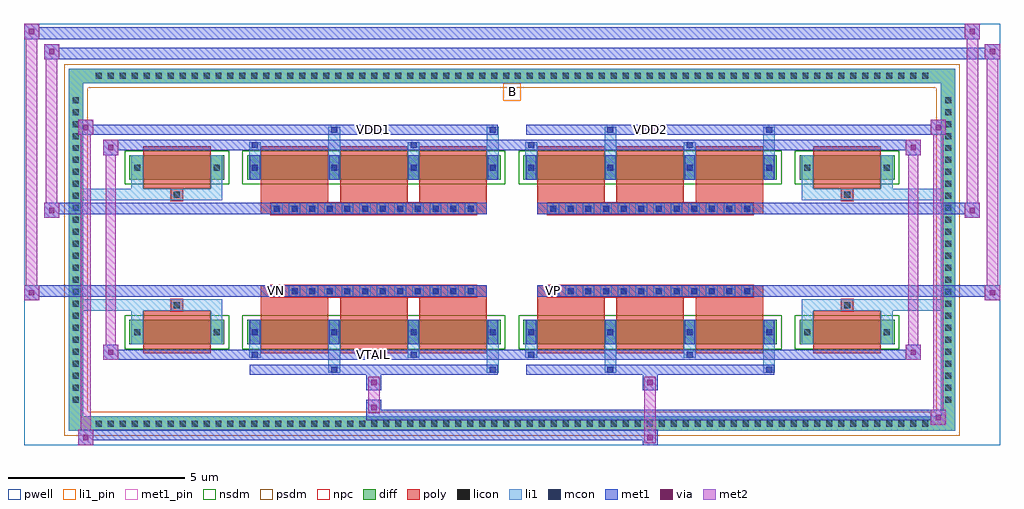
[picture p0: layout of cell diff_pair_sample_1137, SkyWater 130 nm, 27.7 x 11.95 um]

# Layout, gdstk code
import gdstk
lib = gdstk.Library(unit=1e-6, precision=5e-09)
def R(c, l, rs):  # rectangles x0, y0, x1, y1
    for r in rs: c.add(gdstk.rectangle(r[:2], r[2:], *l))
def A(c, l, x, y, w, h, nx, ny, dx, dy):  # array of equal rectangles
    R(c, l, [(x+i*dx, y+j*dy, x+i*dx+w, y+j*dy+h) for i in range(nx) for j in range(ny)])
def P(c, l, *ps):  # polygons
    for p in ps: c.add(gdstk.Polygon(p, *l))
pwell = (64, 44)
diff = (65, 20)
poly = (66, 20)
licon = (66, 44)
li1_pin = (67, 16)
li1 = (67, 20)
mcon = (67, 44)
met1_pin = (68, 16)
met1 = (68, 20)
via = (68, 44)
met2 = (69, 20)
nsdm = (93, 44)
psdm = (94, 20)
npc = (95, 20)

diff_pair_sample_1137 = lib.new_cell('diff_pair_sample_1137')
R(diff_pair_sample_1137, pwell, [(-13.85,-5.54,13.85,6.41), (-11.17,-3.73,-0.01,-0.805), (0.01,-3.73,11.17,-0.805), (-11.17,0.805,-0.01,3.73), (0.01,0.805,11.17,3.73)])
A(diff_pair_sample_1137, diff, -11.935, -5.14, 0.41, 0.41, 70, 2, 0.34, 9.87)
A(diff_pair_sample_1137, diff, -12.58, -4.455, 0.41, 0.41, 1, 26, 0, 0.34)
A(diff_pair_sample_1137, diff, 12.17, -4.455, 0.41, 0.41, 1, 26, 0, 0.34)
R(diff_pair_sample_1137, diff, [(-11.935,-5.14,11.935,-4.73), (-12.58,-4.455,-12.17,4.455), (12.17,-4.455,12.58,4.455), (-10.86,-2.685,-8.16,-1.985), (-7.52,-2.685,-0.32,-1.985), (0.32,-2.685,7.52,-1.985), (8.16,-2.685,10.86,-1.985), (-10.86,1.985,-8.16,2.685), (-7.52,1.985,-0.32,2.685), (0.32,1.985,7.52,2.685), (8.16,1.985,10.86,2.685), (-11.935,4.73,11.935,5.14)])
P(diff_pair_sample_1137, diff, [(12.58,5.14),(-12.58,5.14),(-12.58,-4.73),(-12.17,-4.73),(-12.17,4.73),(12.17,4.73),(12.17,-4.73),(-12.17,-4.73),(-12.58,-4.73),(-12.58,-5.14),(12.58,-5.14)])
A(diff_pair_sample_1137, poly, -7.13, -2.935, 1.92, 1.2, 3, 2, 2.25, 4.67)
A(diff_pair_sample_1137, poly, 0.71, -2.935, 1.92, 1.2, 3, 2, 2.25, 4.67)
A(diff_pair_sample_1137, poly, -7.13, -1.735, 1.92, 0.4, 3, 2, 2.25, 3.07)
A(diff_pair_sample_1137, poly, 0.71, -1.735, 1.92, 0.4, 3, 2, 2.25, 3.07)
A(diff_pair_sample_1137, poly, -6.835, -1.335, 0.33, 0.33, 12, 2, 0.5, 2.34)
A(diff_pair_sample_1137, poly, 1.005, -1.335, 0.33, 0.33, 12, 2, 0.5, 2.34)
R(diff_pair_sample_1137, poly, [(-10.47,-2.935,-8.55,-1.735), (8.55,-2.935,10.47,-1.735), (-9.675,-1.735,-9.345,-1.405), (-9.675,-1.735,-9.345,-1.405), (9.345,-1.735,9.675,-1.405), (9.345,-1.735,9.675,-1.405), (-7.13,-1.335,-0.71,-1.005), (0.71,-1.335,7.13,-1.005), (-7.13,1.005,-0.71,1.335), (0.71,1.005,7.13,1.335), (-9.675,1.405,-9.345,1.735), (-9.675,1.405,-9.345,1.735), (9.345,1.405,9.675,1.735), (9.345,1.405,9.675,1.735), (-10.47,1.735,-8.55,2.935), (8.55,1.735,10.47,2.935)])
A(diff_pair_sample_1137, licon, -11.815, -5.02, 0.17, 0.17, 70, 2, 0.34, 9.87)
A(diff_pair_sample_1137, licon, -12.46, -4.335, 0.17, 0.17, 1, 26, 0, 0.34)
A(diff_pair_sample_1137, licon, 12.29, -4.335, 0.17, 0.17, 1, 26, 0, 0.34)
A(diff_pair_sample_1137, licon, -7.38, -2.42, 0.17, 0.17, 4, 2, 2.25, 4.67)
A(diff_pair_sample_1137, licon, 0.46, -2.42, 0.17, 0.17, 4, 2, 2.25, 4.67)
A(diff_pair_sample_1137, licon, -6.755, -1.255, 0.17, 0.17, 12, 2, 0.5, 2.34)
A(diff_pair_sample_1137, licon, 1.085, -1.255, 0.17, 0.17, 12, 2, 0.5, 2.34)
R(diff_pair_sample_1137, licon, [(-10.72,-2.42,-10.55,-2.25), (-8.47,-2.42,-8.3,-2.25), (8.3,-2.42,8.47,-2.25), (10.55,-2.42,10.72,-2.25), (-9.595,-1.655,-9.425,-1.485), (9.425,-1.655,9.595,-1.485), (-9.595,1.485,-9.425,1.655), (9.425,1.485,9.595,1.655), (-10.72,2.25,-10.55,2.42), (-8.47,2.25,-8.3,2.42), (8.3,2.25,8.47,2.42), (10.55,2.25,10.72,2.42)])
R(diff_pair_sample_1137, li1_pin, [(-0.25,4.23,0.25,4.73)])
A(diff_pair_sample_1137, li1, -11.895, -5.1, 0.33, 0.33, 70, 2, 0.34, 9.87)
A(diff_pair_sample_1137, li1, -12.54, -4.415, 0.33, 0.33, 1, 26, 0, 0.34)
A(diff_pair_sample_1137, li1, 12.21, -4.415, 0.33, 0.33, 1, 26, 0, 0.34)
A(diff_pair_sample_1137, li1, -7.46, -2.685, 0.33, 0.7, 4, 2, 2.25, 4.67)
A(diff_pair_sample_1137, li1, 0.38, -2.685, 0.33, 0.7, 4, 2, 2.25, 4.67)
A(diff_pair_sample_1137, li1, -7.46, -2.5, 0.33, 0.33, 4, 2, 2.25, 4.67)
A(diff_pair_sample_1137, li1, 0.38, -2.5, 0.33, 0.33, 4, 2, 2.25, 4.67)
A(diff_pair_sample_1137, li1, -6.835, -1.335, 0.33, 0.33, 12, 2, 0.5, 2.34)
A(diff_pair_sample_1137, li1, 1.005, -1.335, 0.33, 0.33, 12, 2, 0.5, 2.34)
R(diff_pair_sample_1137, li1, [(-12.58,-5.14,-12.17,-4.73), (-12.58,-5.14,-12.17,-4.73), (-12.17,-5.14,12.17,-4.73), (12.17,-5.14,12.58,-4.73), (12.17,-5.14,12.58,-4.73), (-12.58,-4.73,-12.17,4.73), (12.17,-4.73,12.58,4.73), (-5.21,-3.49,-4.88,-2.685), (-5.13,-3.49,-4.96,-3.32), (-0.71,-3.49,-0.38,-2.685), (-0.63,-3.49,-0.46,-3.32), (2.63,-3.49,2.96,-2.685), (2.71,-3.49,2.88,-3.32), (7.13,-3.49,7.46,-2.685), (7.21,-3.49,7.38,-3.32), (-7.46,-3.06,-7.13,-2.685), (-7.38,-3.06,-7.21,-2.89), (-2.96,-3.06,-2.63,-2.685), (-2.88,-3.06,-2.71,-2.89), (0.38,-3.06,0.71,-2.685), (0.46,-3.06,0.63,-2.89), (4.88,-3.06,5.21,-2.685), (4.96,-3.06,5.13,-2.89), (-10.8,-2.685,-10.47,-1.985), (-8.55,-2.685,-8.22,-1.985), (8.22,-2.685,8.55,-1.985), (10.47,-2.685,10.8,-1.985), (-10.8,-2.5,-10.47,-2.17), (-8.55,-2.5,-8.22,-2.17), (8.22,-2.5,8.55,-2.17), (10.47,-2.5,10.8,-2.17), (-7.38,-2.42,-7.21,-2.25), (-7.38,-2.42,-7.21,-2.25), (-5.13,-2.42,-4.96,-2.25), (-5.13,-2.42,-4.96,-2.25), (-2.88,-2.42,-2.71,-2.25), (-2.88,-2.42,-2.71,-2.25), (-0.63,-2.42,-0.46,-2.25), (-0.63,-2.42,-0.46,-2.25), (0.46,-2.42,0.63,-2.25), (0.46,-2.42,0.63,-2.25), (2.71,-2.42,2.88,-2.25), (2.71,-2.42,2.88,-2.25), (4.96,-2.42,5.13,-2.25), (4.96,-2.42,5.13,-2.25), (7.21,-2.42,7.38,-2.25), (7.21,-2.42,7.38,-2.25), (-10.8,-1.985,-10.47,-1.405), (-8.55,-1.985,-8.22,-1.405), (8.22,-1.985,8.55,-1.405), (10.47,-1.985,10.8,-1.405), (-12.58,-1.735,-9.675,-1.405), (-10.8,-1.735,-9.675,-1.405), (-9.675,-1.735,-9.345,-1.405), (-9.345,-1.735,-8.22,-1.405), (8.22,-1.735,9.345,-1.405), (9.345,-1.735,9.675,-1.405), (9.345,-1.735,12.58,-1.405), (9.675,-1.735,10.8,-1.405), (-12.58,1.405,-9.675,1.735), (-10.8,1.405,-9.675,1.735), (-10.8,1.405,-10.47,1.985), (-9.675,1.405,-9.345,1.735), (-9.345,1.405,-8.22,1.735), (-8.55,1.405,-8.22,1.985), (8.22,1.405,9.345,1.735), (8.22,1.405,8.55,1.985), (9.345,1.405,9.675,1.735), (9.345,1.405,12.58,1.735), (9.675,1.405,10.8,1.735), (10.47,1.405,10.8,1.985), (-10.8,1.985,-10.47,2.685), (-8.55,1.985,-8.22,2.685), (8.22,1.985,8.55,2.685), (10.47,1.985,10.8,2.685), (-10.8,2.17,-10.47,2.5), (-8.55,2.17,-8.22,2.5), (8.22,2.17,8.55,2.5), (10.47,2.17,10.8,2.5), (-7.38,2.25,-7.21,2.42), (-7.38,2.25,-7.21,2.42), (-5.13,2.25,-4.96,2.42), (-5.13,2.25,-4.96,2.42), (-2.88,2.25,-2.71,2.42), (-2.88,2.25,-2.71,2.42), (-0.63,2.25,-0.46,2.42), (-0.63,2.25,-0.46,2.42), (0.46,2.25,0.63,2.42), (0.46,2.25,0.63,2.42), (2.71,2.25,2.88,2.42), (2.71,2.25,2.88,2.42), (4.96,2.25,5.13,2.42), (4.96,2.25,5.13,2.42), (7.21,2.25,7.38,2.42), (7.21,2.25,7.38,2.42), (-7.46,2.685,-7.13,3.06), (-5.21,2.685,-4.88,3.49), (-2.96,2.685,-2.63,3.06), (-0.71,2.685,-0.38,3.49), (0.38,2.685,0.71,3.06), (2.63,2.685,2.96,3.49), (4.88,2.685,5.21,3.06), (7.13,2.685,7.46,3.49), (-7.38,2.89,-7.21,3.06), (-2.88,2.89,-2.71,3.06), (0.46,2.89,0.63,3.06), (4.96,2.89,5.13,3.06), (-5.13,3.32,-4.96,3.49), (-0.63,3.32,-0.46,3.49), (2.71,3.32,2.88,3.49), (7.21,3.32,7.38,3.49), (-12.58,4.73,-12.17,5.14), (-12.58,4.73,-12.17,5.14), (-12.17,4.73,12.17,5.14), (12.17,4.73,12.58,5.14), (12.17,4.73,12.58,5.14)])
A(diff_pair_sample_1137, mcon, -7.38, -2.42, 0.17, 0.17, 4, 2, 2.25, 4.67)
A(diff_pair_sample_1137, mcon, 0.46, -2.42, 0.17, 0.17, 4, 2, 2.25, 4.67)
A(diff_pair_sample_1137, mcon, -6.755, -1.255, 0.17, 0.17, 12, 2, 0.5, 2.34)
A(diff_pair_sample_1137, mcon, 1.085, -1.255, 0.17, 0.17, 12, 2, 0.5, 2.34)
R(diff_pair_sample_1137, mcon, [(-5.13,-3.49,-4.96,-3.32), (-0.63,-3.49,-0.46,-3.32), (2.71,-3.49,2.88,-3.32), (7.21,-3.49,7.38,-3.32), (-7.38,-3.06,-7.21,-2.89), (-2.88,-3.06,-2.71,-2.89), (0.46,-3.06,0.63,-2.89), (4.96,-3.06,5.13,-2.89), (-7.38,2.89,-7.21,3.06), (-2.88,2.89,-2.71,3.06), (0.46,2.89,0.63,3.06), (4.96,2.89,5.13,3.06), (-5.13,3.32,-4.96,3.49), (-0.63,3.32,-0.46,3.49), (2.71,3.32,2.88,3.49), (7.21,3.32,7.38,3.49)])
R(diff_pair_sample_1137, met1_pin, [(-4.055,-3.1,-3.785,-2.83), (-6.805,-1.295,-6.535,-1.025), (1.035,-1.295,1.305,-1.025), (-4.055,3.28,-3.785,3.55), (3.785,3.28,4.055,3.55)])
A(diff_pair_sample_1137, met1, -7.44, -2.685, 0.29, 0.7, 4, 2, 2.25, 4.67)
A(diff_pair_sample_1137, met1, 0.4, -2.685, 0.29, 0.7, 4, 2, 2.25, 4.67)
A(diff_pair_sample_1137, met1, -7.44, -2.48, 0.29, 0.29, 4, 2, 2.25, 4.67)
A(diff_pair_sample_1137, met1, 0.4, -2.48, 0.29, 0.29, 4, 2, 2.25, 4.67)
A(diff_pair_sample_1137, met1, -6.815, -1.315, 0.29, 0.29, 12, 2, 0.5, 2.34)
A(diff_pair_sample_1137, met1, 1.025, -1.315, 0.29, 0.29, 12, 2, 0.5, 2.34)
R(diff_pair_sample_1137, met1, [(-12.31,-5.54,-11.88,-5.11), (3.705,-5.54,4.135,-5.11), (-12.31,-5.4,4.135,-5.11), (11.88,-4.97,12.31,-4.54), (-4.135,-4.83,12.31,-4.54), (-4.135,-4.69,-3.705,-4.26), (-4.135,-3.98,-3.705,-3.55), (3.705,-3.98,4.135,-3.55), (-7.44,-3.55,-0.4,-3.26), (-5.19,-3.55,-4.9,-3.26), (-0.69,-3.55,-0.4,-3.26), (0.4,-3.55,7.44,-3.26), (2.65,-3.55,2.94,-3.26), (7.15,-3.55,7.44,-3.26), (-11.6,-3.12,-11.17,-2.69), (-11.6,-3.12,-7.44,-2.83), (-7.44,-3.12,-7.15,-2.83), (-7.44,-3.12,-0.4,-2.83), (-2.94,-3.12,-2.65,-2.83), (-0.4,-3.12,0.4,-2.83), (0.4,-3.12,0.69,-2.83), (0.4,-3.12,7.44,-2.83), (4.9,-3.12,5.19,-2.83), (7.44,-3.12,11.6,-2.83), (11.17,-3.12,11.6,-2.69), (-13.85,-1.435,-13.42,-1.005), (13.42,-1.435,13.85,-1.005), (-13.85,-1.335,-0.71,-1.005), (-7.13,-1.335,-0.71,-1.005), (0.71,-1.335,7.13,-1.005), (0.71,-1.335,13.85,-1.005), (-13.28,0.905,-12.85,1.335), (12.85,0.905,13.28,1.335), (-13.28,1.005,-7.13,1.335), (-7.13,1.005,-0.71,1.335), (0.71,1.005,7.13,1.335), (7.13,1.005,13.28,1.335), (-11.6,2.69,-11.17,3.12), (11.17,2.69,11.6,3.12), (-11.6,2.83,-7.44,3.12), (-7.44,2.83,-7.15,3.12), (-7.44,2.83,-0.4,3.12), (-2.94,2.83,-2.65,3.12), (-0.4,2.83,0.4,3.12), (0.4,2.83,0.69,3.12), (0.4,2.83,7.44,3.12), (4.9,2.83,5.19,3.12), (7.44,2.83,11.6,3.12), (-12.31,3.26,-11.88,3.69), (-12.31,3.26,-7.44,3.55), (-7.44,3.26,-0.4,3.55), (-5.19,3.26,-4.9,3.55), (-0.69,3.26,-0.4,3.55), (0.4,3.26,7.44,3.55), (2.65,3.26,2.94,3.55), (7.15,3.26,7.44,3.55), (7.44,3.26,12.31,3.55), (11.88,3.26,12.31,3.69), (-13.28,5.41,-12.85,5.84), (-13.28,5.41,-11.17,5.74), (-11.17,5.41,11.17,5.74), (11.17,5.41,13.85,5.74), (13.42,5.41,13.85,5.84), (-13.85,5.98,-13.42,6.41), (-13.85,5.98,-11.17,6.31), (-11.17,5.98,11.17,6.31), (11.17,5.98,13.28,6.31), (12.85,5.98,13.28,6.41)])
R(diff_pair_sample_1137, via, [(-12.17,-5.4,-12.02,-5.25), (3.845,-5.4,3.995,-5.25), (12.02,-4.83,12.17,-4.68), (-3.995,-4.55,-3.845,-4.4), (-3.995,-3.84,-3.845,-3.69), (3.845,-3.84,3.995,-3.69), (-11.46,-2.98,-11.31,-2.83), (11.31,-2.98,11.46,-2.83), (-13.71,-1.295,-13.56,-1.145), (13.56,-1.295,13.71,-1.145), (-13.14,1.045,-12.99,1.195), (12.99,1.045,13.14,1.195), (-11.46,2.83,-11.31,2.98), (11.31,2.83,11.46,2.98), (-12.17,3.4,-12.02,3.55), (12.02,3.4,12.17,3.55), (-13.14,5.55,-12.99,5.7), (13.56,5.55,13.71,5.7), (-13.71,6.12,-13.56,6.27), (12.99,6.12,13.14,6.27)])
R(diff_pair_sample_1137, met2, [(-12.31,-5.54,-11.88,-5.11), (-12.24,-5.54,-11.95,3.69), (-11.95,-5.54,-11.88,-5.11), (-12.26,-5.49,-11.93,-5.16), (3.755,-5.49,4.085,-5.16), (3.755,-5.16,4.085,-3.93), (11.88,-4.97,12.31,-4.54), (11.95,-4.97,12.24,3.69), (12.24,-4.97,12.31,-4.54), (11.93,-4.92,12.26,-4.59), (-4.085,-4.64,-3.755,-4.31), (-4.085,-4.31,-3.755,-3.93), (-4.085,-3.93,-3.755,-3.6), (3.755,-3.93,4.085,-3.6), (-11.6,-3.12,-11.17,-2.69), (-11.53,-3.12,-11.24,3.12), (-11.24,-3.12,-11.17,-2.69), (11.17,-3.12,11.6,-2.69), (11.24,-3.12,11.53,3.12), (11.53,-3.12,11.6,-2.69), (-11.55,-3.07,-11.22,-2.74), (11.22,-3.07,11.55,-2.74), (-13.85,-1.435,-13.42,-1.005), (-13.8,-1.435,-13.47,6.41), (-13.47,-1.435,-13.42,-1.005), (13.42,-1.435,13.85,-1.005), (13.47,-1.435,13.8,5.84), (13.8,-1.435,13.85,-1.005), (-13.8,-1.385,-13.47,-1.055), (13.47,-1.385,13.8,-1.055), (-13.28,0.905,-12.85,1.335), (-13.23,0.905,-12.9,5.84), (-12.9,0.905,-12.85,1.335), (12.85,0.905,13.28,1.335), (12.9,0.905,13.23,6.41), (13.23,0.905,13.28,1.335), (-13.23,0.955,-12.9,1.285), (12.9,0.955,13.23,1.285), (-11.6,2.69,-11.17,3.12), (-11.24,2.69,-11.17,3.12), (11.17,2.69,11.6,3.12), (11.53,2.69,11.6,3.12), (-11.55,2.74,-11.22,3.07), (11.22,2.74,11.55,3.07), (-12.31,3.26,-11.88,3.69), (-11.95,3.26,-11.88,3.69), (11.88,3.26,12.31,3.69), (12.24,3.26,12.31,3.69), (-12.26,3.31,-11.93,3.64), (11.93,3.31,12.26,3.64), (-13.28,5.41,-12.85,5.84), (-12.9,5.41,-12.85,5.84), (13.42,5.41,13.85,5.84), (13.8,5.41,13.85,5.84), (-13.23,5.46,-12.9,5.79), (13.47,5.46,13.8,5.79), (-13.85,5.98,-13.42,6.41), (-13.47,5.98,-13.42,6.41), (12.85,5.98,13.28,6.41), (13.23,5.98,13.28,6.41), (-13.8,6.03,-13.47,6.36), (12.9,6.03,13.23,6.36)])
R(diff_pair_sample_1137, nsdm, [(-10.99,-2.815,-8.03,-1.855), (-7.65,-2.815,-0.19,-1.855), (0.19,-2.815,7.65,-1.855), (8.03,-2.815,10.99,-1.855), (-10.99,1.855,-8.03,2.815), (-7.65,1.855,-0.19,2.815), (0.19,1.855,7.65,2.815), (8.03,1.855,10.99,2.815)])
P(diff_pair_sample_1137, psdm, [(12.71,5.27),(-12.71,5.27),(-12.71,-4.6),(-12.04,-4.6),(-12.04,4.6),(12.04,4.6),(12.04,-4.6),(-12.04,-4.6),(-12.71,-4.6),(-12.71,-5.27),(12.71,-5.27)])
A(diff_pair_sample_1137, npc, -6.855, -1.355, 0.37, 0.37, 12, 2, 0.5, 2.34)
A(diff_pair_sample_1137, npc, 0.985, -1.355, 0.37, 0.37, 12, 2, 0.5, 2.34)
R(diff_pair_sample_1137, npc, [(-9.695,-1.755,-9.325,-1.385), (9.325,-1.755,9.695,-1.385), (-6.855,-1.355,-5.985,-0.985), (-6.855,-1.355,-5.985,-0.985), (-6.355,-1.355,-5.485,-0.985), (-6.355,-1.355,-5.485,-0.985), (-5.855,-1.355,-4.985,-0.985), (-5.855,-1.355,-4.985,-0.985), (-5.355,-1.355,-4.485,-0.985), (-5.355,-1.355,-4.485,-0.985), (-4.855,-1.355,-3.985,-0.985), (-4.855,-1.355,-3.985,-0.985), (-4.355,-1.355,-3.485,-0.985), (-4.355,-1.355,-3.485,-0.985), (-3.855,-1.355,-2.985,-0.985), (-3.855,-1.355,-2.985,-0.985), (-3.355,-1.355,-2.485,-0.985), (-3.355,-1.355,-2.485,-0.985), (-2.855,-1.355,-1.985,-0.985), (-2.855,-1.355,-1.985,-0.985), (-2.355,-1.355,-1.485,-0.985), (-2.355,-1.355,-1.485,-0.985), (-1.855,-1.355,-0.985,-0.985), (-1.855,-1.355,-0.985,-0.985), (0.985,-1.355,1.855,-0.985), (0.985,-1.355,1.855,-0.985), (1.485,-1.355,2.355,-0.985), (1.485,-1.355,2.355,-0.985), (1.985,-1.355,2.855,-0.985), (1.985,-1.355,2.855,-0.985), (2.485,-1.355,3.355,-0.985), (2.485,-1.355,3.355,-0.985), (2.985,-1.355,3.855,-0.985), (2.985,-1.355,3.855,-0.985), (3.485,-1.355,4.355,-0.985), (3.485,-1.355,4.355,-0.985), (3.985,-1.355,4.855,-0.985), (3.985,-1.355,4.855,-0.985), (4.485,-1.355,5.355,-0.985), (4.485,-1.355,5.355,-0.985), (4.985,-1.355,5.855,-0.985), (4.985,-1.355,5.855,-0.985), (5.485,-1.355,6.355,-0.985), (5.485,-1.355,6.355,-0.985), (5.985,-1.355,6.855,-0.985), (5.985,-1.355,6.855,-0.985), (-6.855,0.985,-5.985,1.355), (-6.855,0.985,-5.985,1.355), (-6.355,0.985,-5.485,1.355), (-6.355,0.985,-5.485,1.355), (-5.855,0.985,-4.985,1.355), (-5.855,0.985,-4.985,1.355), (-5.355,0.985,-4.485,1.355), (-5.355,0.985,-4.485,1.355), (-4.855,0.985,-3.985,1.355), (-4.855,0.985,-3.985,1.355), (-4.355,0.985,-3.485,1.355), (-4.355,0.985,-3.485,1.355), (-3.855,0.985,-2.985,1.355), (-3.855,0.985,-2.985,1.355), (-3.355,0.985,-2.485,1.355), (-3.355,0.985,-2.485,1.355), (-2.855,0.985,-1.985,1.355), (-2.855,0.985,-1.985,1.355), (-2.355,0.985,-1.485,1.355), (-2.355,0.985,-1.485,1.355), (-1.855,0.985,-0.985,1.355), (-1.855,0.985,-0.985,1.355), (0.985,0.985,1.855,1.355), (0.985,0.985,1.855,1.355), (1.485,0.985,2.355,1.355), (1.485,0.985,2.355,1.355), (1.985,0.985,2.855,1.355), (1.985,0.985,2.855,1.355), (2.485,0.985,3.355,1.355), (2.485,0.985,3.355,1.355), (2.985,0.985,3.855,1.355), (2.985,0.985,3.855,1.355), (3.485,0.985,4.355,1.355), (3.485,0.985,4.355,1.355), (3.985,0.985,4.855,1.355), (3.985,0.985,4.855,1.355), (4.485,0.985,5.355,1.355), (4.485,0.985,5.355,1.355), (4.985,0.985,5.855,1.355), (4.985,0.985,5.855,1.355), (5.485,0.985,6.355,1.355), (5.485,0.985,6.355,1.355), (5.985,0.985,6.855,1.355), (5.985,0.985,6.855,1.355), (-9.695,1.385,-9.325,1.755), (9.325,1.385,9.695,1.755)])
diff_pair_sample_1137.add(gdstk.Label('VTAIL', (-3.92,-2.965), layer=68, texttype=5))
diff_pair_sample_1137.add(gdstk.Label('VN', (-6.67,-1.16), layer=68, texttype=5))
diff_pair_sample_1137.add(gdstk.Label('VP', (1.17,-1.16), layer=68, texttype=5))
diff_pair_sample_1137.add(gdstk.Label('B', (0,4.48), layer=67, texttype=5))
diff_pair_sample_1137.add(gdstk.Label('VDD2', (3.92,3.415), layer=68, texttype=5))
diff_pair_sample_1137.add(gdstk.Label('VDD1', (-3.92,3.415), layer=68, texttype=5))

lib.write_gds('diff_pair_sample_1137.gds')
